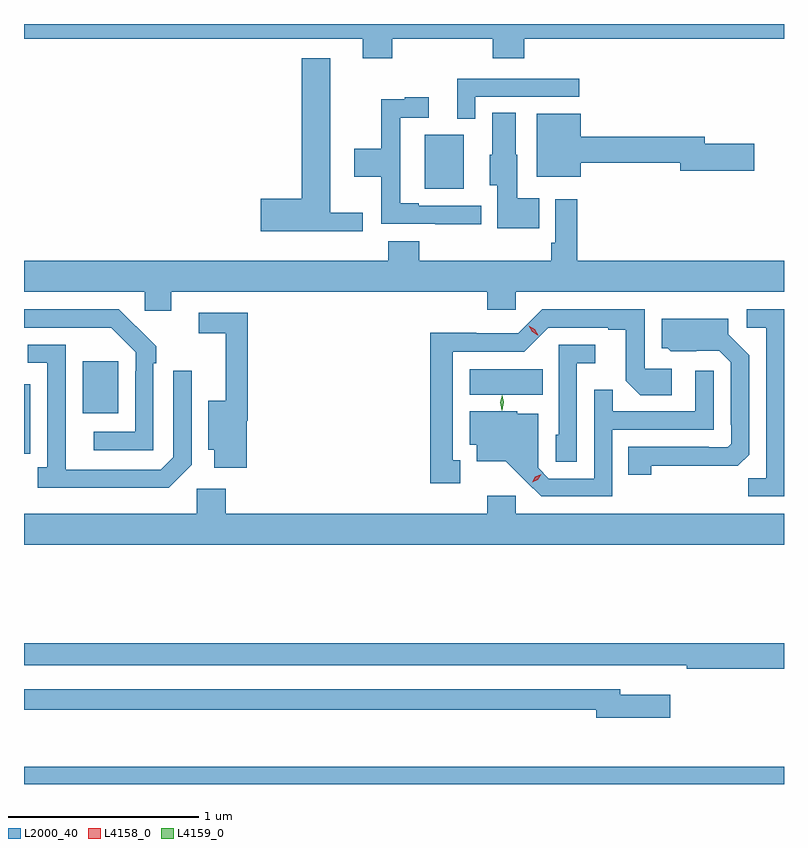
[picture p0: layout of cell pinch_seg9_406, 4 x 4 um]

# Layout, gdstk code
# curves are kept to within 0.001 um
import gdstk
lib = gdstk.Library(unit=1e-6, precision=1e-09)
def R(c, l, rs):  # rectangles x0, y0, x1, y1
    for r in rs: c.add(gdstk.rectangle(r[:2], r[2:], *l))
def P(c, l, *ps):  # polygons
    for p in ps: c.add(gdstk.Polygon(p, *l))
L2000_40 = (2000, 40)
L4158_0 = (4158, 0)
L4159_0 = (4159, 0)

pinch_seg9_406 = lib.new_cell('pinch_seg9_406')
R(pinch_seg9_406, L2000_40, [(225.381,1237.786,229.381,1237.876), (225.689,1239.737,225.877,1240.012), (227.726,1239.836,228.11,1239.97), (227.489,1240.919,227.695,1241.203)])
P(pinch_seg9_406, L2000_40, [(225.381,1241.708),(227.165,1241.708),(227.165,1241.606),(227.318,1241.606),(227.318,1241.708),(227.849,1241.708),(227.849,1241.606),(228.014,1241.606),(228.014,1241.708),(229.381,1241.708),(229.381,1241.786),(225.381,1241.786)],
  [(227.164,1240.793),(226.993,1240.793),(226.993,1241.605),(226.844,1241.605),(226.844,1240.865),(226.626,1240.865),(226.626,1240.694),(227.164,1240.694)],
  [(227.757,1241.403),(228.304,1241.403),(228.304,1241.499),(227.66,1241.499),(227.66,1241.288),(227.757,1241.288)],
  [(227.788,1240.83),(227.458,1240.83),(227.458,1240.843),(227.361,1240.843),(227.361,1241.292),(227.512,1241.292),(227.512,1241.401),(227.384,1241.401),(227.384,1241.39),(227.26,1241.39),(227.26,1241.13),(227.118,1241.13),(227.118,1240.982),(227.26,1240.982),(227.26,1240.734),(227.545,1240.734),(227.545,1240.733),(227.788,1240.733)],
  [(228.092,1240.87),(227.977,1240.87),(227.977,1241.097),(227.968,1241.097),(227.968,1241.318),(227.846,1241.318),(227.846,1241.097),(227.831,1241.097),(227.831,1240.938),(227.873,1240.938),(227.873,1240.712),(228.092,1240.712)],
  [(228.31,1241.056),(228.836,1241.056),(228.836,1241.014),(229.225,1241.014),(229.225,1241.156),(228.964,1241.156),(228.964,1241.192),(228.31,1241.192),(228.31,1241.314),(228.08,1241.314),(228.08,1240.982),(228.31,1240.982)],
  [(226.156,1240.376),(227.819,1240.376),(227.819,1240.283),(227.97,1240.283),(227.97,1240.376),(229.381,1240.376),(229.381,1240.54),(228.293,1240.54),(228.293,1240.864),(228.177,1240.864),(228.177,1240.636),(228.157,1240.636),(228.157,1240.54),(227.462,1240.54),(227.462,1240.642),(227.297,1240.642),(227.297,1240.54),(225.381,1240.54),(225.381,1240.376),(226.017,1240.376),(226.017,1240.278),(226.156,1240.278)],
  [(229.381,1240.284),(229.185,1240.284),(229.185,1240.188),(229.287,1240.188),(229.287,1239.395),(229.192,1239.395),(229.192,1239.3),(229.381,1239.3)],
  [(227.677,1239.489),(227.638,1239.489),(227.638,1240.062),(228.015,1240.062),(228.141,1240.188),(228.455,1240.188),(228.455,1240.176),(228.549,1240.176),(228.549,1239.908),(228.625,1239.832),(228.79,1239.832),(228.79,1239.972),(228.648,1239.972),(228.648,1240.284),(228.108,1240.284),(227.982,1240.158),(227.76,1240.158),(227.76,1240.16),(227.52,1240.16),(227.52,1239.369),(227.677,1239.369)],
  [(226.062,1240.001),(226.077,1240.001),(226.077,1240.089),(225.88,1240.284),(225.381,1240.284),(225.381,1240.188),(225.841,1240.188),(225.969,1240.059),(225.969,1239.959),(225.966,1239.959),(225.966,1239.639),(225.747,1239.639),(225.747,1239.543),(226.062,1239.543)],
  [(226.553,1239.698),(226.559,1239.698),(226.559,1240.266),(226.302,1240.266),(226.302,1240.158),(226.442,1240.158),(226.442,1239.802),(226.352,1239.802),(226.352,1239.545),(226.382,1239.545),(226.382,1239.45),(226.553,1239.45)],
  [(228.681,1239.46),(229.138,1239.461),(229.197,1239.52),(229.197,1240.042),(229.087,1240.152),(229.087,1240.234),(228.737,1240.234),(228.737,1240.08),(228.768,1240.08),(228.784,1240.064),(229.041,1240.065),(229.101,1240.005),(229.101,1239.676),(229.104,1239.676),(229.104,1239.576),(229.086,1239.558),(228.986,1239.558),(228.986,1239.561),(228.562,1239.561),(228.562,1239.414),(228.681,1239.414)],
  [(226.263,1239.465),(226.263,1239.961),(226.167,1239.961),(226.167,1239.507),(226.101,1239.441),(225.601,1239.441),(225.6,1240.098),(225.402,1240.098),(225.402,1240.002),(225.504,1240.002),(225.504,1239.454),(225.453,1239.454),(225.453,1239.344),(226.142,1239.344)],
  [(228.291,1240.001),(228.388,1240.001),(228.388,1240.098),(228.195,1240.098),(228.195,1239.624),(228.18,1239.624),(228.18,1239.481),(228.291,1239.481)],
  [(228.477,1239.651),(229.011,1239.651),(229.011,1239.961),(228.915,1239.961),(228.915,1239.747),(228.479,1239.747),(228.479,1239.86),(228.381,1239.86),(228.381,1239.393),(228.144,1239.393),(228.087,1239.45),(228.087,1239.736),(227.976,1239.736),(227.976,1239.748),(227.726,1239.748),(227.726,1239.572),(227.765,1239.572),(227.765,1239.485),(227.917,1239.485),(228.104,1239.3),(228.477,1239.3)],
  [(225.413,1239.634),(225.414,1239.634),(225.414,1239.889),(225.381,1239.889),(225.381,1239.525),(225.413,1239.525)],
  [(229.381,1239.208),(227.97,1239.208),(227.97,1239.304),(227.819,1239.304),(227.819,1239.208),(226.442,1239.208),(226.442,1239.34),(226.29,1239.34),(226.29,1239.208),(225.381,1239.208),(225.381,1239.044),(229.381,1239.044)],
  [(229.381,1238.528),(225.381,1238.528),(225.381,1238.412),(228.616,1238.412),(228.616,1238.411),(228.868,1238.411),(228.868,1238.392),(229.381,1238.392)],
  [(228.781,1238.257),(228.52,1238.257),(228.52,1238.286),(225.381,1238.286),(225.381,1238.178),(228.392,1238.178),(228.392,1238.135),(228.781,1238.135)])
P(pinch_seg9_406, L4158_0, [(228.055,1239.373),(228.055,1239.373),(228.072,1239.402),(228.103,1239.417),(228.104,1239.417),(228.104,1239.416),(228.086,1239.387),(228.055,1239.373)],
  [(228.086,1240.147),(228.055,1240.166),(228.037,1240.199),(228.037,1240.199),(228.038,1240.199),(228.069,1240.18),(228.087,1240.147),(228.087,1240.147)])
P(pinch_seg9_406, L4159_0, [(227.896,1239.754),(227.887,1239.794),(227.897,1239.833),(227.897,1239.834),(227.897,1239.833),(227.907,1239.794),(227.897,1239.754),(227.897,1239.754)])

lib.write_gds('pinch_seg9_406.gds')
